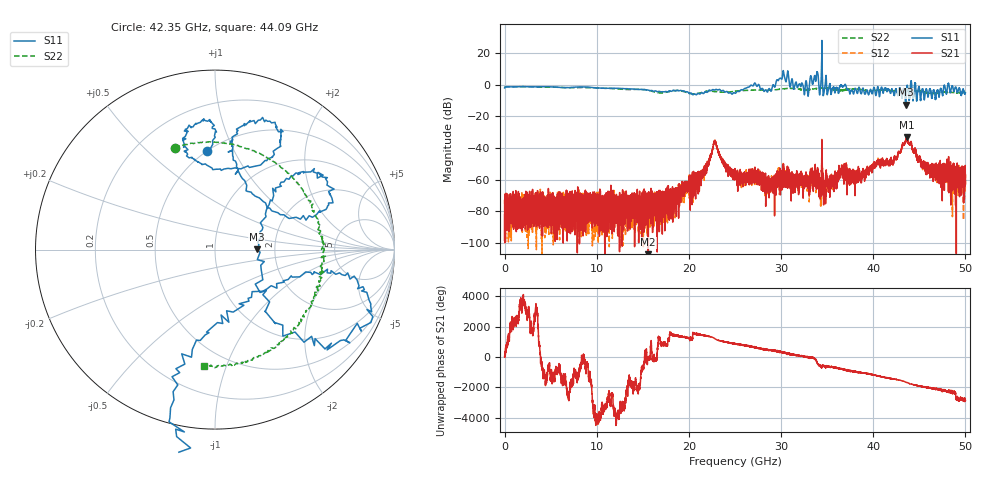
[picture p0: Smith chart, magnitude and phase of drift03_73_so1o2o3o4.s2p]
!Created with skrf (http://scikit-rf.org).
# Hz S RI R 50.0
!freq ReS11 ImS11 ReS21 ImS21 ReS12 ImS12 ReS22 ImS22
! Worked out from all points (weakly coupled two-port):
!   10000 points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, 5.3 MHz to 50 GHz, reference 50 ohm
!   highest |S21| = -33.04 dB at 43.65 GHz (marker M1); lowest = -108.2 dB at 15.6 GHz (marker M2)
!   lowest |S11| = -12.7 dB at 43.52 GHz (marker M3), VSWR 1.60, Z = 80.2 + j0.274 ohm
!   |S11| at or under -10 dB: 43.48246 GHz to 43.55716 GHz (74.69 MHz wide, 0.172 % of centre); 43.89957 GHz to 43.90088 GHz (1.318 MHz wide, 0.003 % of centre); 44.31268 GHz to 44.31669 GHz (4.009 MHz wide, 0.00905 % of centre) (the widest 3 of 5)
!   |S22| runs from -5.9 to -1.3 dB; largest |S21 - S12| = 0.0094
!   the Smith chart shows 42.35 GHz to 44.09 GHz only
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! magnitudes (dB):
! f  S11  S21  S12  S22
! 5.3 MHz  -2.1  -74.2  -73.4  -2.1
! 8.34 GHz  -1.5  -75.7  -75.3  -1.9
! 15.6 GHz  -3.5  -108.2  -92.9  -3.6
! 16.67 GHz  -4.4  -77.0  -77.0  -5.2
! 20.98 GHz  -5.7  -64.1  -56.4  -5.6
! 21.96 GHz  -4.9  -50.3  -51.3  -4.4
! 22.81 GHz  -3.5  -35.4  -35.2  -4.4
! 25.01 GHz  -5.5  -57.9  -56.3  -4.3
! 27.02 GHz  -0.3  -58.7  -53.5  -3.5
! 28.72 GHz  -2.5  -64.8  -61.2  -3.6
! 30.14 GHz  4.5  -66.4  -58.5  -2.8
! 32.74 GHz  2.0  -57.6  -57.2  -3.3
! 33.34 GHz  2.7  -56.3  -58.4  -2.9
! 33.82 GHz  4.3  -58.2  -64.9  -2.6
! 34.85 GHz  3.6  -63.4  -67.7  -2.4
! 36.48 GHz  -0.4  -56.0  -54.5  -3.8
! 38.5 GHz  -2.0  -56.6  -56.4  -3.0
! 41.67 GHz  -2.9  -50.0  -50.1  -3.7
! 43.52 GHz  -12.7  -35.7  -35.5  -4.2
! 43.65 GHz  -1.5  -33.0  -33.4  -4.0
! 46.28 GHz  -5.6  -54.7  -54.0  -5.6
! 50 GHz  -5.2  -56.9  -65.3  -4.9
